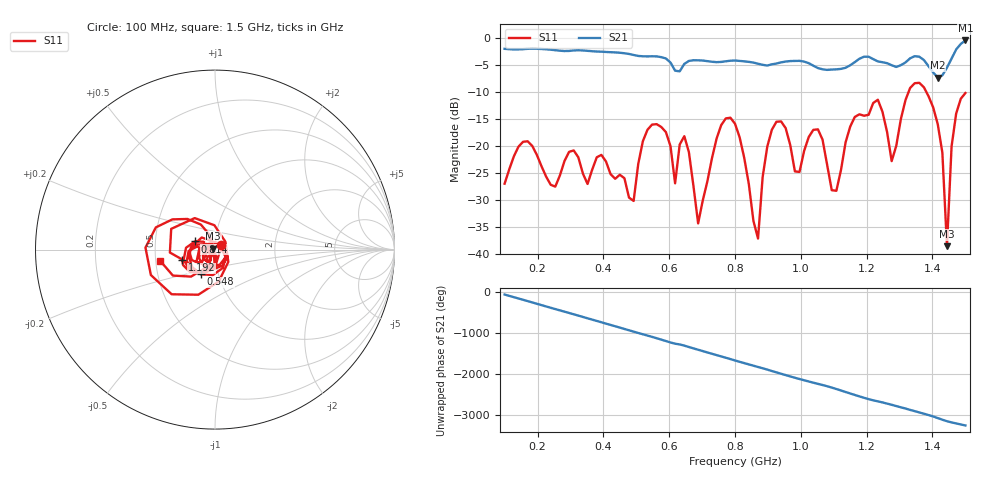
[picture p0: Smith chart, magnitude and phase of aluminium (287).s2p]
! NanoVNA-App
! Date: 2025-09-25 14:57:31
! Start: 100MHz Stop: 1,5GHz Points: 101
! S-Parameter data: F S11 S21 S12 S22
# Hz S RI R 50
!  Frequency  S11_Real  S11_Imag  S21_Real  S21_Imag  S12_Real  S12_Imag  S22_Real  S22_Imag
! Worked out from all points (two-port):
!   101 points, 100 MHz to 1.5 GHz, reference 50 ohm
!   highest |S21| = -0.37 dB at 1.5 GHz (marker M1); lowest = -7.3 dB at 1.416 GHz (marker M2)
!   |S21| within 3 dB of the highest: start of sweep to 566.3 MHz; 1.461 GHz to end of sweep (the widest 2 of 3)
!   lowest |S11| = -38.6 dB at 1.444 GHz (marker M3), VSWR 1.02, Z = 49 + j0.575 ohm
!   |S11| at or under -10 dB: start of sweep to 1.327 GHz; 1.382 GHz to end of sweep
!   S12 and S22 are empty: the file has one direction only
!   S11 on the Smith chart (normalised r, x): 100 MHz: 1.07, +0.06; 548 MHz: 0.82, -0.23; 814 MHz: 0.80, +0.07; 1.192 GHz: 0.69, -0.08; 1.5 GHz: 0.53, -0.07
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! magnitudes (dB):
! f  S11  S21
! 100 MHz  -27.0  -1.9
! 338 MHz  -25.1  -2.2
! 492 MHz  -30.2  -3.1
! 548 MHz  -16.0  -3.3
! 576 MHz  -16.4  -3.5
! 618 MHz  -26.9  -6.0
! 646 MHz  -18.1  -4.7
! 688 MHz  -34.3  -4.1
! 800 MHz  -15.8  -4.1
! 814 MHz  -18.3  -4.2
! 870 MHz  -37.2  -4.7
! 912 MHz  -16.9  -4.8
! 996 MHz  -24.8  -4.2
! 1.038 GHz  -17.0  -5.1
! 1.108 GHz  -28.3  -5.7
! 1.192 GHz  -14.3  -3.4
! 1.276 GHz  -22.8  -5.0
! 1.346 GHz  -8.3  -3.3
! 1.416 GHz  -15.9  -7.3
! 1.444 GHz  -38.6  -5.4
! 1.458 GHz  -20.0  -3.7
! 1.5 GHz  -10.1  -0.4
